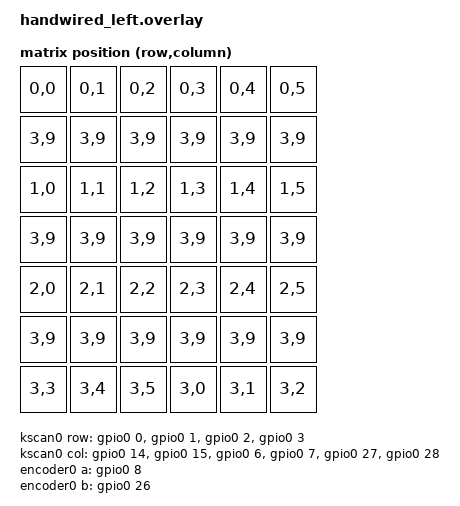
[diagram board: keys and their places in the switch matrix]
/*
 * Left half (central / master)
 *
 * Physical pin mapping
 *   Rows  : Row0=GP0  Row1=GP1  Row2=GP2  Row3=GP3
 *   Cols  : Col0=GP14 Col1=GP15 Col2=GP6  Col3=GP7  Col4=GP27 Col5=GP28
 *   UART1 : TX=GP4   RX=GP5
 *   EC11  : ENCa=GP8  ENCb=GP26  button wired to matrix (Row2, Col0)
 *   WS2812: GP16 via PIO0
 */

#include <dt-bindings/zmk/matrix_transform.h>
#include <dt-bindings/pinctrl/rpi-pico-rp2040-pinctrl.h>
#include <dt-bindings/led/led.h>

/ {
    chosen {
        zmk,kscan            = &kscan0;
        zmk,matrix-transform = &default_transform;
        zmk,split-uart       = &uart1;
        zmk,underglow        = &ws2812;
    };

    sensors: sensors {
        compatible = "zmk,keymap-sensors";
        sensors = <&encoder0>;
        triggers-per-rotation = <20>;
    };

    default_transform: matrix_transform {
        compatible = "zmk,matrix-transform";
        columns = <12>;
        rows = <4>;
        map = <
            /* row 0 – left cols 0-5 direct, then 6 unreachable padding */
            RC(0,0) RC(0,1) RC(0,2) RC(0,3) RC(0,4) RC(0,5)
            RC(3,9) RC(3,9) RC(3,9) RC(3,9) RC(3,9) RC(3,9)
            /* row 1 */
            RC(1,0) RC(1,1) RC(1,2) RC(1,3) RC(1,4) RC(1,5)
            RC(3,9) RC(3,9) RC(3,9) RC(3,9) RC(3,9) RC(3,9)
            /* row 2 */
            RC(2,0) RC(2,1) RC(2,2) RC(2,3) RC(2,4) RC(2,5)
            RC(3,9) RC(3,9) RC(3,9) RC(3,9) RC(3,9) RC(3,9)
            /* row 3 – LT3/LT2/LT1 at positions 36-38; cols 0-2 have no switch (phantom 39-41) */
            RC(3,3) RC(3,4) RC(3,5) RC(3,0) RC(3,1) RC(3,2)
        >;
    };

    kscan0: kscan_0 {
        compatible = "zmk,kscan-gpio-matrix";
        diode-direction = "col2row";

        col-gpios
            = <&gpio0 14 GPIO_ACTIVE_HIGH>   /* Col0 */
            , <&gpio0 15 GPIO_ACTIVE_HIGH>   /* Col1 – Q/A/Z */
            , <&gpio0  6 GPIO_ACTIVE_HIGH>   /* Col2 */
            , <&gpio0  7 GPIO_ACTIVE_HIGH>   /* Col3 */
            , <&gpio0 27 GPIO_ACTIVE_HIGH>   /* Col4 */
            , <&gpio0 28 GPIO_ACTIVE_HIGH>   /* Col5 – T/G/B/inner-thumb */
            ;

        row-gpios
            = <&gpio0 0 (GPIO_ACTIVE_HIGH | GPIO_PULL_DOWN)>   /* Row0 */
            , <&gpio0 1 (GPIO_ACTIVE_HIGH | GPIO_PULL_DOWN)>   /* Row1 */
            , <&gpio0 2 (GPIO_ACTIVE_HIGH | GPIO_PULL_DOWN)>   /* Row2 */
            , <&gpio0 3 (GPIO_ACTIVE_HIGH | GPIO_PULL_DOWN)>   /* Row3 */
            ;
    };

    encoder0: encoder_0 {
        compatible = "alps,ec11";
        a-gpios = <&gpio0  8 (GPIO_ACTIVE_HIGH | GPIO_PULL_UP)>;
        b-gpios = <&gpio0 26 (GPIO_ACTIVE_HIGH | GPIO_PULL_UP)>;
        steps = <80>;
        status = "okay";
    };
};

&pinctrl {
    ws2812_pio0_default: ws2812_pio0_default {
        group1 {
            pinmux = <PIO0_P16>;
        };
    };

    uart1_default: uart1_default {
        group1 {
            pinmux = <UART1_TX_P4>;
        };
        group2 {
            pinmux = <UART1_RX_P5>;
            input-enable;
        };
    };
};

&uart1 {
    status = "okay";
    current-speed = <115200>;
    pinctrl-0 = <&uart1_default>;
    pinctrl-names = "default";
};

&pio0 {
    status = "okay";

    pio-ws2812 {
        compatible = "worldsemi,ws2812-rpi_pico-pio";
        status = "okay";
        pinctrl-0 = <&ws2812_pio0_default>;
        pinctrl-names = "default";
        bit-waveform = <3>, <3>, <4>;

        ws2812: ws2812 {
            status = "okay";
            gpios = <&gpio0 16 GPIO_ACTIVE_HIGH>;
            chain-length = <1>;
            color-mapping = <LED_COLOR_ID_RED
                             LED_COLOR_ID_GREEN
                             LED_COLOR_ID_BLUE>;
            reset-delay = <280>;
            frequency = <800000>;
        };
    };
};
